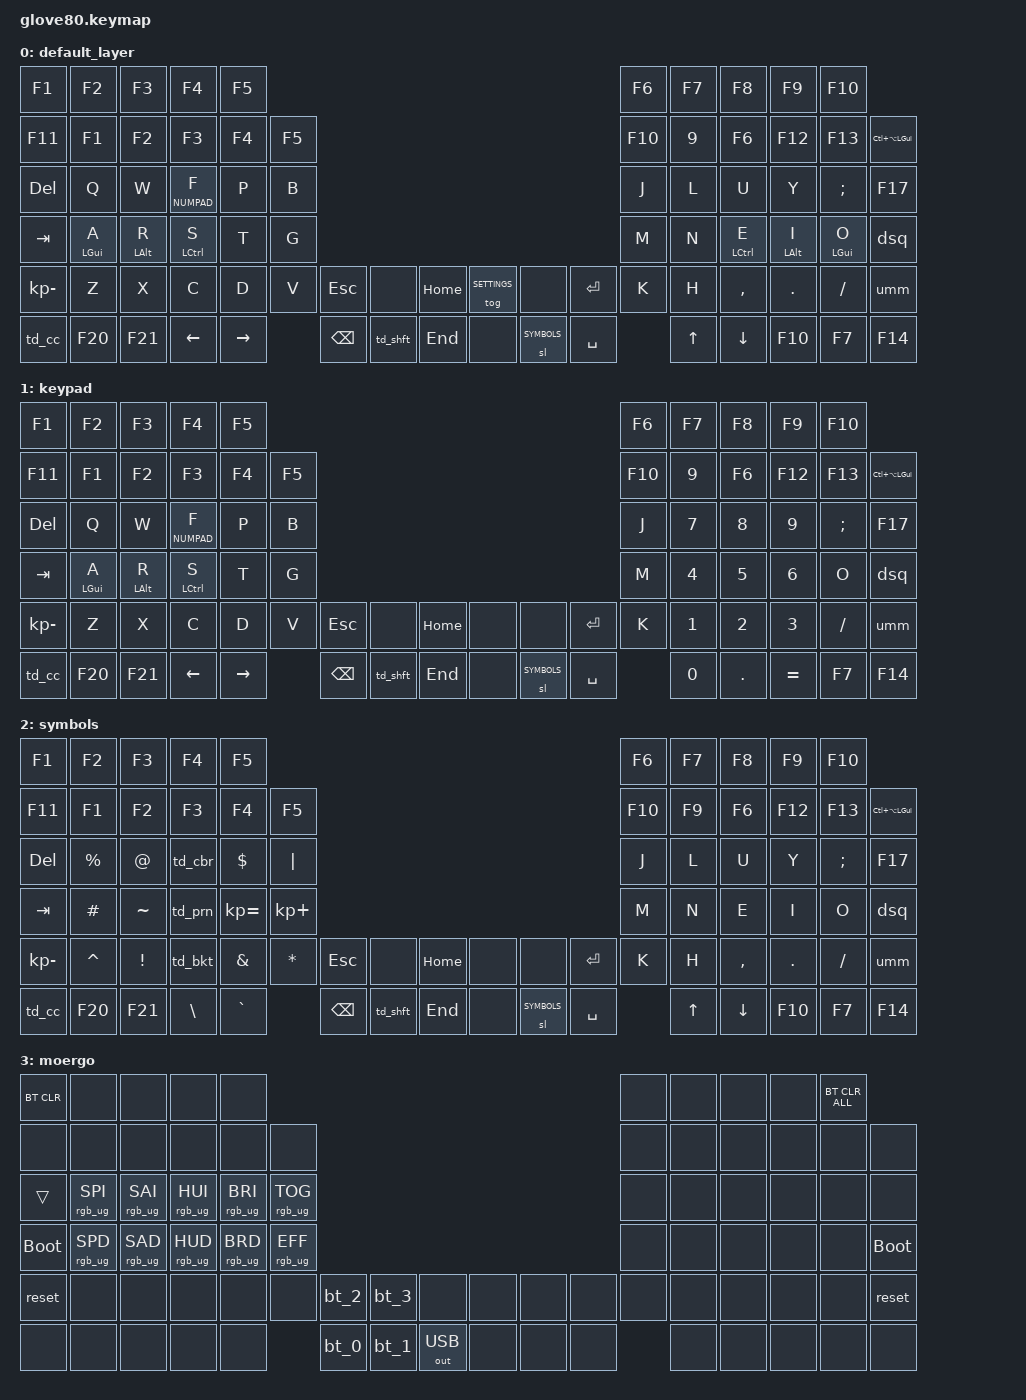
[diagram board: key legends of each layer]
#include <behaviors.dtsi>
#include <dt-bindings/zmk/outputs.h>

#include <dt-bindings/zmk/keys.h>
#include <dt-bindings/zmk/bt.h>
#include <dt-bindings/zmk/rgb.h>

// Layers
#define DEFAULT 0
#define NUMPAD 1
#define SYMBOLS 2
#define SETTINGS 3

// Home Row Mods
#define HM_A &gqt LEFT_GUI A
#define HM_R &gqt LEFT_ALT R
#define HM_S &gqt LEFT_CONTROL S
              
#define HM_E &gqt LEFT_CONTROL E
#define HM_I &gqt LEFT_ALT I
#define HM_O &gqt LEFT_GUI O

&mt {
  retro-tap;
};

&sk {
  quick-release;
};

/ {
    behaviors {
        // Hold taps
        nht: numpad_layer_hold_tap {
          compatible = "zmk,behavior-hold-tap";
          label = "NUMPAD_LAYER_HOLD_TAP";
          #binding-cells = <2>;
          tapping-term-ms = <200>;
          quick_tap_ms = <175>;
          flavor = "tap-preferred";
          bindings = <&mo>, <&kp>;
          // this works by counting the physical keys of the keyboard
          hold-trigger-key-positions = <29 30 31 41 42 43 59 60 61 75 76 77>;
        };

        gqt: global-quick-tap {
          compatible = "zmk,behavior-hold-tap";
          label = "GLOBAL_QUICK_TAP";
          tapping-term-ms = <200>;
          #binding-cells = <2>;
          flavor = "tap-preferred";
          quick-tap-ms = <125>;
          global-quick-tap;
          bindings = <&kp>, <&kp>;
        };

        // Mod Morphs
        dsq: double_single_quote {
          compatible = "zmk,behavior-mod-morph";
          label = "DOUBLE_SINGLE_QUOTE";
          #binding-cells = <0>;
          bindings = <&kp DOUBLE_QUOTES>, <&kp SINGLE_QUOTE>;
          mods = <MOD_LSFT>;
        };

        // I can get rid of this after I fix the muscle memory of pressing shift for _
        umm: fix_underscore_muscle_memory {
          compatible = "zmk,behavior-mod-morph";
          label = "FIX_UNDERSCORE_MUSCLE_MEMORY";
          #binding-cells = <0>;
          bindings = <&kp UNDERSCORE>, <&none>;
          mods = <MOD_LSFT>;
        };

        // Tap Dances
        td_cc: tap_dance_copy_cut {
          compatible = "zmk,behavior-tap-dance";
          label = "TAP_DANCE_COPY_CUT";
          #binding-cells = <0>;
          tapping-term-ms = <200>;
          bindings = <&kp LC(C)>, <&kp LC(X)>;
        };

        td_cbr: tap_dance_curly_braces {
          compatible = "zmk,behavior-tap-dance";
          label = "TAP_DANCE_CURLY_BRACES";
          #binding-cells = <0>;
          tapping-term-ms = <200>;
          bindings = <&kp LEFT_BRACE>, <&kp RIGHT_BRACE>;
        };

        td_prn: tap_dance_parenthesis {
          compatible = "zmk,behavior-tap-dance";
          label = "TAP_DANCE_PARENTHESIS";
          #binding-cells = <0>;
          tapping-term-ms = <200>;
          bindings = <&kp LEFT_PARENTHESIS>, <&kp RIGHT_PARENTHESIS>;
        };

        td_bkt: tap_dance_brakets {
          compatible = "zmk,behavior-tap-dance";
          label = "TAP_DANCE_BRACKETS";
          #binding-cells = <0>;
          tapping-term-ms = <200>;
          bindings = <&kp LEFT_BRACKET>, <&kp RIGHT_BRACKET>;
        };

        td_shft: tap_dance_shift {
          compatible = "zmk,behavior-tap-dance";
          label = "TAP_DANCE_SHIFT";
          #binding-cells = <0>;
          tapping-term-ms = <200>;
          bindings = <&sk LEFT_SHIFT>, <&caps_word>;
        };
    };

    macros {
        rgb_ug_status_macro: rgb_ug_status_macro_0 {
            label = "RGB_UG_STATUS";
            compatible = "zmk,behavior-macro";
            #binding-cells = <0>;
            bindings
                = <&rgb_ug RGB_STATUS>;
        };
    };

    macros {
        bt_0: bt_profile_macro_0 {
            label = "BT_0";
            compatible = "zmk,behavior-macro";
            #binding-cells = <0>;
            bindings
                = <&out OUT_BLE>,
                  <&bt BT_SEL 0>;
        };
    };

    macros {
        bt_1: bt_profile_macro_1 {
            label = "BT_1";
            compatible = "zmk,behavior-macro";
            #binding-cells = <0>;
            bindings
                = <&out OUT_BLE>,
                  <&bt BT_SEL 1>;
        };
    };

    macros {
        bt_2: bt_profile_macro_2 {
            label = "BT_2";
            compatible = "zmk,behavior-macro";
            #binding-cells = <0>;
            bindings
                = <&out OUT_BLE>,
                  <&bt BT_SEL 2>;
        };
    };

    macros {
        bt_3: bt_profile_macro_3 {
            label = "BT_3";
            compatible = "zmk,behavior-macro";
            #binding-cells = <0>;
            bindings
                = <&out OUT_BLE>,
                  <&bt BT_SEL 3>;
        };
    };

    magic: magic_hold_tap {
        compatible = "zmk,behavior-hold-tap";
        label = "MAGIC_HOLD_TAP";
        #binding-cells = <2>;
        flavor = "tap-preferred";
        tapping-term-ms = <200>;
        bindings = <&mo>, <&rgb_ug_status_macro>;
    };

    keymap {
        compatible = "zmk,keymap";

        default_layer {
          bindings = <
            &kp F1        &kp F2   &kp F3   &kp F4         &kp F5                                                                                      &kp F6   &kp F7   &kp F8     &kp F9    &kp F10
            &kp F11       &kp F1   &kp F2   &kp F3         &kp F4   &kp F5                                                                             &kp F10  &kp 9    &kp F6     &kp F12   &kp F13    &kp LC(LA(LEFT_GUI))
            &kp DELETE    &kp Q    &kp W    &nht NUMPAD F  &kp P    &kp B                                                                              &kp J    &kp L    &kp U      &kp Y     &kp SEMI   &kp F17
            &kp TAB       HM_A     HM_R     HM_S           &kp T    &kp G                                                                              &kp M    &kp N    HM_E       HM_I      HM_O       &dsq
            &kp KP_MINUS  &kp Z    &kp X    &kp C          &kp D    &kp V   &kp ESC   &none     &kp HOME      &tog SETTINGS  &none        &kp ENTER    &kp K    &kp H    &kp COMMA  &kp DOT   &kp SLASH  &umm
            &td_cc        &kp F20  &kp F21  &kp LEFT       &kp RIGHT        &kp BKSP  &td_shft  &kp END       &none          &sl SYMBOLS  &kp SPACE             &kp UP   &kp DOWN   &kp F10   &kp F7     &kp F14
          >;
        };

        keypad {
          bindings = <
            &kp F1        &kp F2   &kp F3   &kp F4        &kp F5                                                                               &kp F6   &kp F7   &kp F8     &kp F9     &kp F10
            &kp F11       &kp F1   &kp F2   &kp F3        &kp F4   &kp F5                                                                      &kp F10  &kp 9    &kp F6     &kp F12    &kp F13    &kp LC(LA(LEFT_GUI))
            &kp DELETE    &kp Q    &kp W    &nht NUMPAD F &kp P    &kp B                                                                       &kp J    &kp N7   &kp N8     &kp N9     &kp SEMI   &kp F17
            &kp TAB       HM_A     HM_R     HM_S          &kp T    &kp G                                                                       &kp M    &kp N4   &kp N5     &kp N6     &kp O      &dsq
            &kp KP_MINUS  &kp Z    &kp X    &kp C         &kp D    &kp V   &kp ESC   &none     &kp HOME        &none  &none        &kp ENTER   &kp K    &kp N1   &kp N2     &kp N3     &kp SLASH  &umm
            &td_cc        &kp F20  &kp F21  &kp LEFT      &kp RIGHT        &kp BKSP  &td_shft  &kp END         &none  &sl SYMBOLS  &kp SPACE            &kp N0   &kp DOT    &kp EQUAL  &kp F7     &kp F14
          >;
        };


        symbols {
          bindings = <
            &kp F1        &kp F2       &kp F3           &kp F4         &kp F5                                                                                           &kp F6   &kp F7   &kp F8     &kp F9    &kp F10
            &kp F11       &kp F1       &kp F2           &kp F3         &kp F4         &kp F5                                                                            &kp F10  &kp F9   &kp F6     &kp F12   &kp F13    &kp LC(LA(LEFT_GUI))
            &kp DELETE    &kp PERCENT  &kp AT           &td_cbr        &kp DOLLAR     &kp PIPE                                                                          &kp J    &kp L    &kp U      &kp Y     &kp SEMI   &kp F17
            &kp TAB       &kp HASH     &kp TILDE        &td_prn        &kp KP_EQUAL   &kp KP_PLUS                                                                       &kp M    &kp N    &kp E      &kp I     &kp O      &dsq
            &kp KP_MINUS  &kp CARET    &kp EXCLAMATION  &td_bkt        &kp AMPERSAND  &kp ASTERISK   &kp ESC   &none     &kp HOME     &none  &none        &kp ENTER     &kp K    &kp H    &kp COMMA  &kp DOT   &kp SLASH  &umm
            &td_cc        &kp F20      &kp F21          &kp BACKSLASH  &kp GRAVE                     &kp BKSP  &td_shft  &kp END      &none  &sl SYMBOLS  &kp SPACE              &kp UP   &kp DOWN  &kp F10    &kp F7     &kp F14
          >;
        };

        moergo {
            bindings = <
              &bt BT_CLR            &none            &none            &none            &none                                                                                  &none   &none   &none   &none  &bt BT_CLR_ALL
                   &none            &none            &none            &none            &none            &none                                                         &none   &none   &none   &none   &none           &none
                  &trans  &rgb_ug RGB_SPI  &rgb_ug RGB_SAI  &rgb_ug RGB_HUI  &rgb_ug RGB_BRI  &rgb_ug RGB_TOG                                                         &none   &none   &none   &none   &none           &none
             &bootloader  &rgb_ug RGB_SPD  &rgb_ug RGB_SAD  &rgb_ug RGB_HUD  &rgb_ug RGB_BRD  &rgb_ug RGB_EFF                                                         &none   &none   &none   &none   &none     &bootloader
                  &reset            &none            &none            &none            &none            &none   &bt_2   &bt_3         &none   &none   &none   &none   &none   &none   &none   &none   &none          &reset
                   &none            &none            &none            &none            &none                    &bt_0   &bt_1  &out OUT_USB   &none   &none   &none           &none   &none   &none   &none           &none
            >;
        };

    };
};
